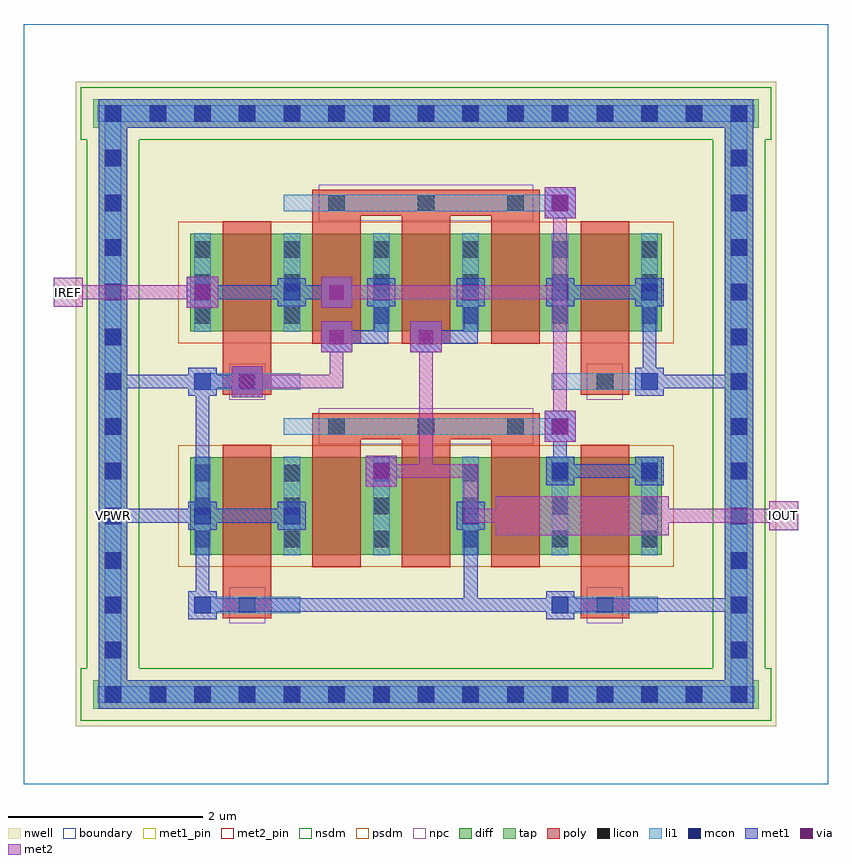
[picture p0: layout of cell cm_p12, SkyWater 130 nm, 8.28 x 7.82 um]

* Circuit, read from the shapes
.subckt cm_p12 IOUT IREF VPWR
XM1 VPWR VPWR VPWR VPWR sky130_fd_pr__pfet_01v8 w=1 l=0.5 m=2
XM2 IREF VPWR IREF VPWR sky130_fd_pr__pfet_01v8 w=1 l=0.5 m=2
XM3 IOUT IREF VPWR VPWR sky130_fd_pr__pfet_01v8 w=1 l=0.5 m=4
XM4 VPWR IREF IREF VPWR sky130_fd_pr__pfet_01v8 w=1 l=0.5 m=2
.ends

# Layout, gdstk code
import gdstk
lib = gdstk.Library(unit=1e-6, precision=1e-09)
def R(c, l, rs):  # rectangles x0, y0, x1, y1
    for r in rs: c.add(gdstk.rectangle(r[:2], r[2:], *l))
def A(c, l, x, y, w, h, nx, ny, dx, dy):  # array of equal rectangles
    R(c, l, [(x+i*dx, y+j*dy, x+i*dx+w, y+j*dy+h) for i in range(nx) for j in range(ny)])
nwell = (64, 20)
diff = (65, 20)
tap = (65, 44)
poly = (66, 20)
licon = (66, 44)
li1 = (67, 20)
mcon = (67, 44)
met1_pin = (68, 16)
met1 = (68, 20)
via = (68, 44)
met2_pin = (69, 16)
met2 = (69, 20)
nsdm = (93, 44)
psdm = (94, 20)
npc = (95, 20)
boundary = (235, 4)

cm_p12 = lib.new_cell('cm_p12')
R(cm_p12, nwell, [(0.535,0.595,7.745,7.225)])
R(cm_p12, diff, [(1.715,2.36,6.565,3.36), (1.715,4.66,6.565,5.66)])
R(cm_p12, tap, [(0.715,0.775,7.565,1.065), (0.775,0.775,1.065,7.045), (7.215,0.775,7.505,7.045), (0.715,6.755,7.565,7.045)])
A(cm_p12, poly, 2.97, 2.23, 0.5, 1.45, 3, 2, 0.92, 2.3)
R(cm_p12, poly, [(2.05,1.705,2.55,1.975), (5.73,1.705,6.23,1.975), (2.05,1.84,2.55,3.49), (5.73,1.84,6.23,3.49), (2.97,3.545,5.31,3.815), (2.05,4.005,2.55,4.275), (5.73,4.005,6.23,4.275), (2.05,4.14,2.55,5.79), (5.73,4.14,6.23,5.79), (2.97,5.845,5.31,6.115)])
A(cm_p12, licon, 0.835, 0.835, 0.17, 0.17, 15, 2, 0.46, 5.98)
A(cm_p12, licon, 0.835, 1.295, 0.17, 0.17, 1, 12, 0, 0.46)
A(cm_p12, licon, 7.275, 1.295, 0.17, 0.17, 1, 12, 0, 0.46)
A(cm_p12, licon, 1.755, 2.435, 0.17, 0.17, 6, 3, 0.92, 0.34)
A(cm_p12, licon, 3.135, 3.595, 0.17, 0.17, 3, 2, 0.92, 2.3)
A(cm_p12, licon, 1.755, 4.735, 0.17, 0.17, 6, 3, 0.92, 0.34)
R(cm_p12, licon, [(2.215,1.755,2.385,1.925), (5.895,1.755,6.065,1.925), (2.215,4.055,2.385,4.225), (5.895,4.055,6.065,4.225)])
A(cm_p12, li1, 1.755, 2.355, 0.17, 1.01, 6, 2, 0.92, 2.3)
R(cm_p12, li1, [(0.755,0.835,7.525,1.005), (0.835,0.835,1.005,6.985), (7.275,0.835,7.445,6.985), (1.755,1.755,2.845,1.925), (5.435,1.755,6.525,1.925), (2.675,3.595,5.605,3.765), (1.755,4.055,2.845,4.225), (5.435,4.055,6.525,4.225), (2.675,5.895,5.605,6.065), (0.755,6.815,7.525,6.985)])
A(cm_p12, mcon, 0.835, 0.835, 0.17, 0.17, 15, 2, 0.46, 5.98)
A(cm_p12, mcon, 0.835, 1.295, 0.17, 0.17, 1, 3, 0, 0.46)
A(cm_p12, mcon, 7.275, 1.295, 0.17, 0.17, 1, 4, 0, 0.46)
A(cm_p12, mcon, 0.835, 2.675, 0.17, 0.17, 3, 1, 0.92, 0)
A(cm_p12, mcon, 0.835, 3.135, 0.17, 0.17, 1, 4, 0, 0.46)
A(cm_p12, mcon, 5.435, 3.135, 0.17, 0.17, 3, 1, 0.92, 0)
A(cm_p12, mcon, 7.275, 3.595, 0.17, 0.17, 1, 3, 0, 0.46)
A(cm_p12, mcon, 0.835, 4.975, 0.17, 0.17, 8, 1, 0.92, 0)
A(cm_p12, mcon, 0.835, 5.435, 0.17, 0.17, 1, 3, 0, 0.46)
A(cm_p12, mcon, 7.275, 5.435, 0.17, 0.17, 1, 3, 0, 0.46)
R(cm_p12, mcon, [(1.755,1.755,1.925,1.925), (5.435,1.755,5.605,1.925), (4.515,2.675,4.685,2.845), (3.595,3.135,3.765,3.305), (5.435,3.595,5.605,3.765), (1.755,4.055,1.925,4.225), (6.355,4.055,6.525,4.225), (5.435,5.895,5.605,6.065)])
R(cm_p12, met1_pin, [(0.85,2.69,0.99,2.83)])
A(cm_p12, met1, 1.695, 4.915, 0.29, 0.29, 6, 1, 0.92, 0)
R(cm_p12, met1, [(0.775,0.775,7.505,1.065), (0.775,0.775,1.065,7.045), (7.215,0.775,7.505,7.045), (1.695,1.695,1.985,1.985), (5.375,1.695,5.665,1.985), (1.77,1.77,1.91,2.83), (1.77,1.77,4.67,1.91), (4.53,1.77,5.59,1.91), (4.53,1.77,4.67,2.83), (5.45,1.77,7.43,1.91), (7.29,1.77,7.43,4.21), (1.695,2.615,1.985,2.905), (2.615,2.615,2.905,2.905), (4.455,2.615,4.745,2.905), (0.85,2.69,1.91,2.83), (0.85,2.69,0.99,2.83), (1.77,2.69,2.83,2.83), (1.77,2.69,1.91,4.21), (3.52,3.06,3.84,3.38), (3.535,3.075,3.825,3.365), (5.375,3.075,5.665,3.365), (6.295,3.075,6.585,3.365), (5.45,3.15,6.51,3.29), (5.45,3.15,5.59,3.75), (5.36,3.52,5.68,3.84), (5.375,3.535,5.665,3.825), (2.14,3.98,2.46,4.3), (1.695,3.995,1.985,4.285), (6.295,3.995,6.585,4.285), (0.85,4.07,1.91,4.21), (0.85,4.07,0.99,6.97), (1.77,4.07,2.37,4.21), (6.37,4.07,7.43,4.21), (6.37,4.07,6.51,5.13), (3.06,4.44,3.38,4.76), (3.98,4.44,4.3,4.76), (3.15,4.53,3.75,4.67), (3.61,4.53,3.75,5.13), (4.07,4.53,4.67,4.67), (4.53,4.53,4.67,5.13), (1.68,4.9,2,5.22), (3.06,4.9,3.38,5.22), (1.77,4.99,2.83,5.13), (2.69,4.99,3.29,5.13), (5.45,4.99,6.51,5.13), (5.36,5.82,5.68,6.14), (5.375,5.835,5.665,6.125), (0.775,6.755,7.505,7.045), (0.85,6.83,0.99,6.97)])
R(cm_p12, via, [(3.605,3.145,3.755,3.295), (5.445,3.605,5.595,3.755), (2.225,4.065,2.375,4.215), (3.145,4.525,3.295,4.675), (4.065,4.525,4.215,4.675), (1.765,4.985,1.915,5.135), (3.145,4.985,3.295,5.135), (5.445,5.905,5.595,6.055)])
R(cm_p12, met2_pin, [(7.67,2.61,7.97,2.91), (0.31,4.91,0.61,5.21)])
R(cm_p12, met2, [(4.86,2.56,6.64,2.96), (7.67,2.61,7.97,2.91), (4.53,2.69,5.13,2.83), (4.53,2.69,4.67,3.29), (6.37,2.69,7.89,2.83), (7.75,2.69,7.89,2.83), (3.52,3.06,3.84,3.38), (3.61,3.15,4.21,3.29), (4.07,3.15,4.67,3.29), (4.07,3.15,4.21,4.67), (5.36,3.52,5.68,3.84), (5.45,3.61,5.59,6.05), (2.14,3.98,2.46,4.3), (2.23,4.07,3.29,4.21), (3.15,4.07,3.29,4.67), (3.06,4.44,3.38,4.76), (3.98,4.44,4.3,4.76), (1.68,4.9,2,5.22), (3.06,4.9,3.38,5.22), (0.31,4.91,0.61,5.21), (0.39,4.99,0.53,5.13), (0.39,4.99,1.91,5.13), (3.15,4.99,5.59,5.13), (5.36,5.82,5.68,6.14)])
R(cm_p12, nsdm, [(0.59,0.65,7.69,1.19), (0.65,1.19,1.19,6.63), (7.09,1.19,7.63,6.63), (0.59,6.63,7.69,7.17)])
R(cm_p12, psdm, [(1.59,2.235,6.69,3.485), (1.59,4.535,6.69,5.785)])
R(cm_p12, npc, [(2.115,1.655,2.485,2.025), (5.795,1.655,6.165,2.025), (3.035,3.495,5.245,3.865), (2.115,3.955,2.485,4.325), (5.795,3.955,6.165,4.325), (3.035,5.795,5.245,6.165)])
R(cm_p12, boundary, [(0,0,8.28,7.82)])
cm_p12.add(gdstk.Label('VPWR', (0.92,2.76), layer=68, texttype=5))
cm_p12.add(gdstk.Label('IREF', (0.46,5.06), layer=69, texttype=5))
cm_p12.add(gdstk.Label('IOUT', (7.82,2.76), layer=69, texttype=5))
cm_p12.add(gdstk.Label('VPWR', (0.92,2.76), layer=68, texttype=16))
cm_p12.add(gdstk.Label('IREF', (0.46,5.06), layer=69, texttype=16))
cm_p12.add(gdstk.Label('IOUT', (7.82,2.76), layer=69, texttype=16))

lib.write_gds('cm_p12.gds')
